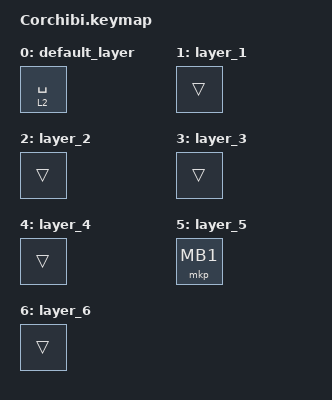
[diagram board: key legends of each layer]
#include <dt-bindings/zmk/mouse.h>
#include <behaviors.dtsi>
#include <dt-bindings/zmk/bt.h>
#include <dt-bindings/zmk/keys.h>
#include <dt-bindings/zmk/pointing.h>

/ {
    behaviors {
        TB1_mouse: TB1_mouse {
            compatible = "zmk,behavior-none";
            label = "TB19M";
            #binding-cells = <0>;
        };

        TB1_scroll: TB1_scroll {
            compatible = "zmk,behavior-none";
            #binding-cells = <0>;
        };

        TB2_mouse: TB2_mouse {
            compatible = "zmk,behavior-none";
            #binding-cells = <0>;
        };

        TB2_scroll: TB2_scroll {
            compatible = "zmk,behavior-none";
            #binding-cells = <0>;
        };
    };

    macros {
        new_macro: new_macro {
            compatible = "zmk,behavior-macro";
            #binding-cells = <0>;
            bindings = <&kp LS(R) &kp I &kp Z &kp A &kp P &kp N5 &kp N5 &kp N5>;
            label = "NEW_MACRO";
        };

        macro_Tab: macro_Tab {
            compatible = "zmk,behavior-macro";
            #binding-cells = <0>;
            bindings = <&kp LS(LG(LEFT))>;
            label = "MACRO_TAB";
        };

        macorokyaputyaj: macorokyaputyaj {
            compatible = "zmk,behavior-macro";
            #binding-cells = <0>;
            bindings = <&kp LG(LS(S))>;
            label = "MACOROKYAPUTYAJ";
        };

        macro_newfile: macro_newfile {
            compatible = "zmk,behavior-macro";
            #binding-cells = <0>;
            bindings = <&kp LC(LS(N))>;
            label = "MACRO_NEWFILE";
        };

        macro_p: macro_p {
            compatible = "zmk,behavior-macro";
            #binding-cells = <0>;
            bindings = <&kp LS(Z) &kp LS(A) &kp LS(Q) &kp EXCL &kp N2 &kp W &kp S &kp X>;
            label = "MACRO_P";
        };

        macro_psakura: macro_psakura {
            compatible = "zmk,behavior-macro";
            #binding-cells = <0>;
            bindings = <&none &kp LS(S) &kp A &kp K &kp U &kp R &kp A &kp N8 &kp N7 &kp N3 &kp N9 &kp AT>;
            label = "MACRO_PSAKURA";
        };

        macro_pZA: macro_pZA {
            compatible = "zmk,behavior-macro";
            #binding-cells = <0>;
            bindings = <&none &kp LS(Z) &kp LS(A) &kp LS(Q) &kp EXCL &kp N2 &kp W &kp S &kp X>;
            label = "MACRO_PZA";
        };
    };

    keymap {
        compatible = "zmk,keymap";

        default_layer {
            bindings = <
&kp GRAVE  &kp LCTRL  &kp LEFT_SHIFT  &lt 2 C  &kp A  &kp Z  &kp LGUI  &kp W  &kp X  &kp LALT  &kp E  &kp D  &kp R  &kp F  &kp V  &lt 5 BACKSPACE  &kp G  &kp B  &mkp MB2  &lt 1 BSPC  &kp Q  &kp S  &kp C  &kp T  &mkp MB1  &kp BSPC  &kp RET  &mt (QMARK) LS(INTERNATIONAL_1)  &kp RIGHT  &mt LBKT MINUS  &kp UP  &kp DOWN  &kp O  &mt COLON PERIOD  &kp LEFT  &lt 5 I  &kp K  &kp U  &kp J  &kp M  &TB1_mouse  &kp H  &kp N  &lt 1 GRAVE  &kp B  &kp P  &kp L  &mt SEMICOLON COMMA  &kp Y  &lt 2 SPACE
            >;
        };

        layer_1 {
            bindings = <
&kp ESC  &trans  &macro_Tab  &trans  &kp F4  &kp F7  &trans  &kp F2  &kp F8  &trans  &kp F3  &kp F6  &kp F4  &kp F12  &trans  &trans  &new_macro  &trans  &trans  &trans  &kp F1  &kp F5  &kp F9  &kp F11  &trans  &kp DELETE  &trans  &trans  &macro_Tab  &kp SQT  &trans  &macro_newfile  &kp STAR  &kp SLASH  &trans  &kp N9  &kp NUMBER_6  &kp N8  &kp N5  &kp NUMBER_2  &TB1_mouse  &kp NUMBER_4  &kp NUMBER_1  &trans  &kp N0  &kp LPAR  &kp COLON  &kp NUMBER_3  &kp N7  &trans
            >;
        };

        layer_2 {
            bindings = <
&kp Z  &kp LEFT_CONTROL  &kp LS(LG(LEFT_ARROW))  &trans  &kp NUMBER_1  &kp F11  &trans  &kp AT  &kp F12  &trans  &kp HASH  &kp F3  &kp PERCENT  &kp F4  &macro_pZA  &trans  &kp F5  &macro_psakura  &trans  &new_macro  &kp EXCLAMATION  &kp F2  &trans  &kp CARET  &macorokyaputyaj  &kp DEL  &trans  &kp SLASH  &kp NON_US_BACKSLASH  &kp F10  &kp COLON  &kp GREATER_THAN  &kp MINUS  &kp SEMICOLON  &kp LESS_THAN  &kp LPAR  &kp F8  &kp STAR  &kp F7  &trans  &TB1_mouse  &kp F6  &trans  &kp LS(LG(S))  &trans  &kp PIPE  &kp F9  &trans  &kp AMPS  &trans
            >;
        };

        layer_3 {
            bindings = <
&trans  &trans  &trans  &trans  &trans  &trans  &trans  &trans  &trans  &trans  &trans  &trans  &trans  &trans  &trans  &trans  &trans  &trans  &trans  &trans  &trans  &trans  &trans  &trans  &trans  &bt BT_SEL 0  &bt BT_SEL 1  &bt BT_SEL 2  &bt BT_SEL 3  &trans  &trans  &trans  &trans  &trans  &trans  &trans  &trans  &trans  &trans  &trans  &TB1_mouse  &trans  &trans  &trans  &trans  &trans  &trans  &trans  &bt BT_CLR  &trans
            >;
        };

        layer_4 {
            bindings = <
&trans  &trans  &trans  &trans  &trans  &trans  &trans  &trans  &trans  &trans  &trans  &trans  &trans  &trans  &trans  &trans  &trans  &trans  &trans  &trans  &trans  &trans  &trans  &trans  &mkp MB1  &trans  &trans  &trans  &trans  &trans  &trans  &trans  &trans  &trans  &trans  &trans  &mkp MB2  &trans  &mkp MB1  &trans  &TB1_mouse  &trans  &trans  &trans  &trans  &trans  &trans  &trans  &trans  &trans
            >;
        };

        layer_5 {
            bindings = <
&kp ESC  &trans  &macro_Tab  &trans  &kp F4  &kp F7  &trans  &kp F2  &kp F8  &trans  &kp F3  &kp F6  &kp F4  &kp F12  &trans  &trans  &new_macro  &trans  &trans  &trans  &kp F1  &kp F5  &kp F9  &kp F11  &trans  &kp DELETE  &trans  &trans  &macro_Tab  &kp SQT  &trans  &macro_newfile  &kp LEFT_PARENTHESIS  &trans  &trans  &kp N9  &mkp MB2  &kp N8  &mkp MB1  &kp NUMBER_2  &TB1_mouse  &kp NUMBER_4  &kp NUMBER_1  &mkp MB2  &kp N0  &kp RIGHT_PARENTHESIS  &kp DOUBLE_QUOTES  &kp NUMBER_3  &kp N7  &mkp MB1
            >;
        };

        layer_6 {
            bindings = <
&trans  &trans  &trans  &trans  &trans  &trans  &trans  &trans  &trans  &trans  &trans  &trans  &trans  &trans  &trans  &trans  &trans  &trans  &trans  &trans  &trans  &trans  &trans  &trans  &trans  &trans  &trans  &trans  &trans  &trans  &trans  &trans  &trans  &trans  &trans  &trans  &trans  &trans  &trans  &trans  &trans  &trans  &trans  &trans  &trans  &trans  &trans  &trans  &trans  &trans
            >;
        };
    };
};

// force trigger build
// apply DYA studio fixes
// fix central role and remove advertising config
// fix missing BLE central role
// slim down R config and fix endpoints
// bypass compiler strict warnings for auto_mouse_layer
// fix endpoint count by forcing central role
// remove invalid cmake configs
// remove undefined moNa2 configs
